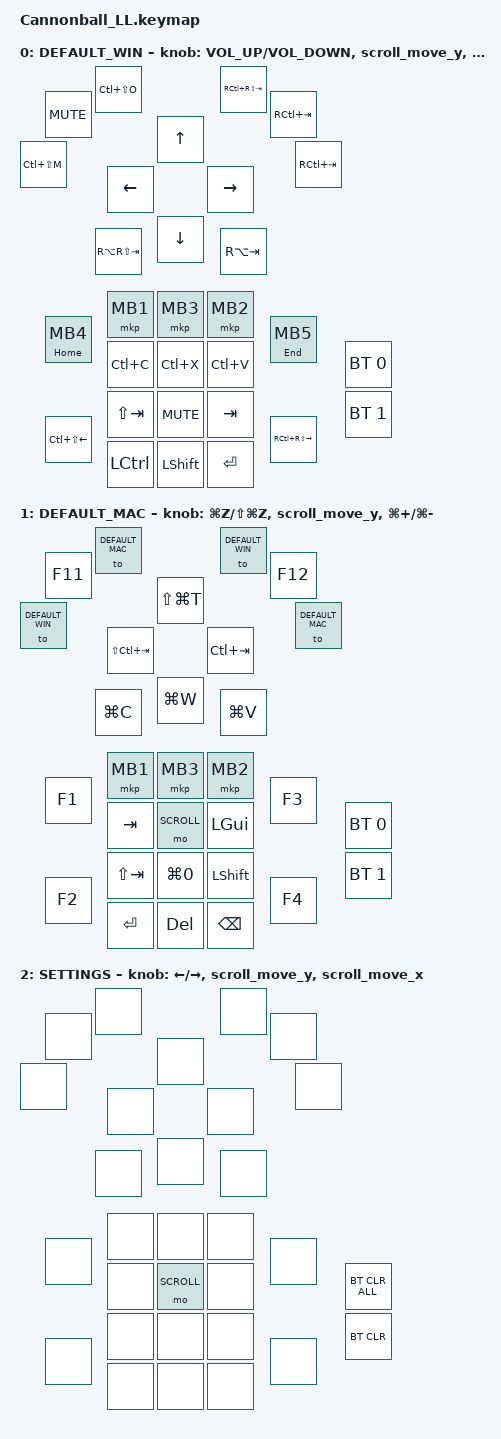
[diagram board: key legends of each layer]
#include <behaviors.dtsi>
#include <dt-bindings/zmk/bt.h>
#include <dt-bindings/zmk/keys.h>
#include <dt-bindings/zmk/pointing.h>
#include <dt-bindings/zmk/input_transform.h>
#include <dt-bindings/zmk/mouse.h>

#define DEFAULT_WIN 0
#define DEFAULT_MAC 1
#define SCROLL 2

/ {
    /* Behaviors */
    // スクロール設定
    msc {
        acceleration-exponent = <0>;      // 0
        time-to-max-speed-ms = <200>;     // 300
        delay-ms = <5>;                   // 10
    };
    behaviors {
        // エンコーダー：キー
        rot_kp: sensor_rotate_kp {
            compatible = "zmk,behavior-sensor-rotate-var";
            #sensor-binding-cells = <2>;
            bindings = <&kp>, <&kp>;
        };

        // エンコーダー：マウススクロール 
        rot_msc: sensor_rotate_msc {
             compatible = "zmk,behavior-sensor-rotate-var";
             #sensor-binding-cells = <2>;
             tap-ms = <20>;
             bindings = <&msc>, <&msc>;
        };

        // エンコーダー：マウススクロール(MOVE_Y)
        scroll_move_y: sensor_rotate_msc_for_move_y {
            compatible = "zmk,behavior-sensor-rotate";
            #sensor-binding-cells = <0>;
            bindings = <&msc MOVE_Y(20)>, <&msc MOVE_Y(-20)>;
            // tap-ms下限メモ Yの値で可変: Y(15) <81>, Y(20) <65>, Y(25) <49>
            tap-ms = <65>;
        };

        // エンコーダー：マウススクロール(MOVE_X)
        scroll_move_x: sensor_rotate_msc_for_move_x {
            compatible = "zmk,behavior-sensor-rotate";
            #sensor-binding-cells = <0>;
            bindings = <&msc MOVE_X(20)>, <&msc MOVE_X(-20)>;
            // tap-ms下限メモ Xの値で可変: X(15) <81>, X(20) <65>, X(25) <49>
            tap-ms = <65>;
        };

        kp_mkp: kp_mkp {
            compatible = "zmk,behavior-hold-tap";
            bindings = <&kp>, <&mkp>;
            #binding-cells = <2>;
            tapping-term-ms = <150>;
        };
    };

    /* キーマップ */
    keymap {
        compatible = "zmk,keymap";

        // WINDOWS用
    	DEFAULT_WIN {
            bindings = <
                // Key
                &mkp MB2   &kp LC(V)   &kp TAB    &kp ENTER
                &mkp MB3   &kp LC(X)   &kp C_MUTE   &kp LSHFT
                &mkp MB1   &kp LC(C)   &kp LS(TAB)  &kp LCTRL
                // Mouse
                &kp RA(RS(TAB)) &kp RA(TAB)
                // Stick
                &kp UP &kp LEFT &kp DOWN &kp RIGHT
                // Lever
                &kp LC(LS(M)) &kp C_MUTE  &kp LC(LS(O))
                &kp RC(RS(TAB)) &kp RC(TAB) &kp RC(TAB)
                // Side
                &kp_mkp HOME MB4 &kp LC(LS(LEFT)) &kp_mkp END MB5 &kp RC(RS(RIGHT))
                // Back
                &bt BT_SEL 0 &bt BT_SEL 1
    	    >;
            sensor-bindings = <&rot_kp C_VOLUME_UP C_VOLUME_DOWN>, <&scroll_move_y>, <&scroll_move_x>;
    	};

        // MacOS用
    	DEFAULT_MAC {
            bindings = <
                // Key
                &mkp MB2   &kp LGUI   &kp LSHFT    &kp BSPC
                &mkp MB3   &mo SCROLL &kp LG(N0)   &kp DEL
                &mkp MB1   &kp TAB    &kp LS(TAB)  &kp RET
                // Mouse
                &kp LG(C) &kp LG(V)
                // Stick
                &kp LS(LG(T)) &kp LS(LC(TAB)) &kp LG(W) &kp LC(TAB)
                // Lever
                &to DEFAULT_WIN &kp F11 &to DEFAULT_MAC
                &to DEFAULT_WIN &kp F12 &to DEFAULT_MAC
                // Side
                &kp F1 &kp F2 &kp F3 &kp F4
                // Back
                &bt BT_SEL 0 &bt BT_SEL 1
    	    >;
            sensor-bindings = <&rot_kp LG(Z) LS(LG(Z))>, <&scroll_move_y>, <&rot_kp LG(PLUS) LG(MINUS)>;
    	};

        // BT設定、スクロールレイヤー
        SETTINGS {
            bindings = <
                // Key
                &none &none &none &none
                &none &mo SCROLL &none &none
                &none &none &none &none
                // Mouse
                &none &none
                // Stick
                &none &none &none &none
                // Lever
                &none &none &none
                &none &none &none
                // Side
                &none &none &none &none
                // Back
                &bt BT_CLR_ALL &bt BT_CLR
    	    >;
            sensor-bindings = <&rot_kp LEFT RIGHT>, <&scroll_move_y>, <&scroll_move_x>;
    	};
    };
};
